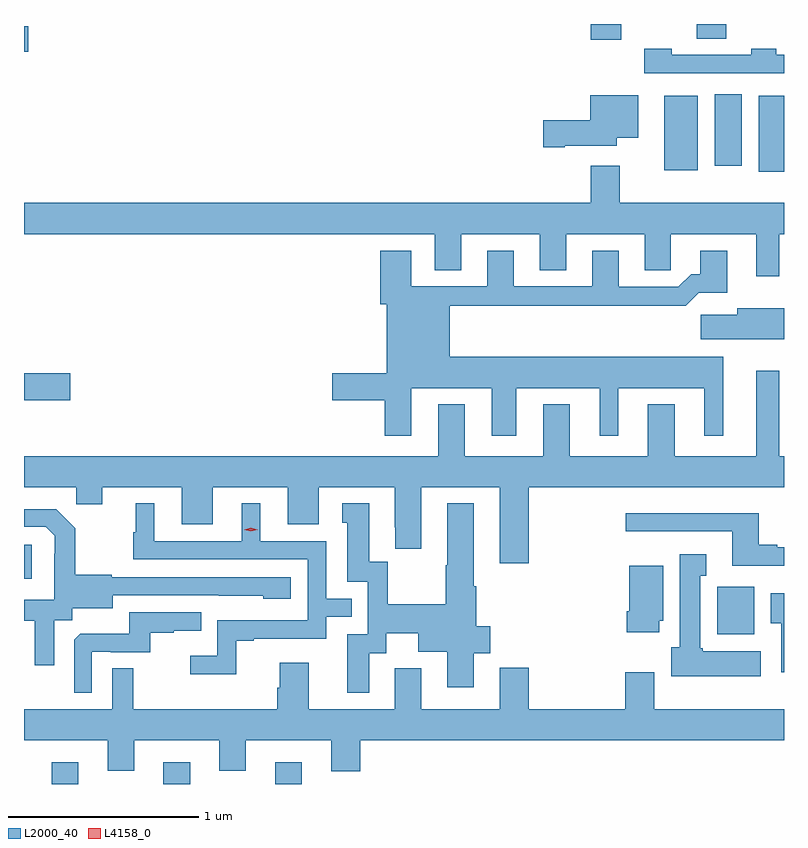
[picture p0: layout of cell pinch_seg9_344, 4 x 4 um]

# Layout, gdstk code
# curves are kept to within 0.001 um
import gdstk
lib = gdstk.Library(unit=1e-6, precision=1e-09)
def R(c, l, rs):  # rectangles x0, y0, x1, y1
    for r in rs: c.add(gdstk.rectangle(r[:2], r[2:], *l))
def A(c, l, x, y, w, h, nx, ny, dx, dy):  # array of equal rectangles
    R(c, l, [(x+i*dx, y+j*dy, x+i*dx+w, y+j*dy+h) for i in range(nx) for j in range(ny)])
def P(c, l, *ps):  # polygons
    for p in ps: c.add(gdstk.Polygon(p, *l))
L2000_40 = (2000, 40)
L4158_0 = (4158, 0)

pinch_seg9_344 = lib.new_cell('pinch_seg9_344')
A(pinch_seg9_344, L2000_40, 554.579, 1184.202, 0.14, 0.115, 3, 1, 0.588, 0)
R(pinch_seg9_344, L2000_40, [(558.081,1184.99,558.277,1185.24), (554.433,1185.282,554.473,1185.462), (554.433,1186.222,554.677,1186.364), (558.299,1187.424,558.433,1187.824), (557.804,1187.432,557.98,1187.824), (558.068,1187.457,558.211,1187.833), (554.433,1188.056,554.455,1188.19), (557.417,1188.12,557.577,1188.202), (557.974,1188.124,558.128,1188.202)])
P(pinch_seg9_344, L2000_40, [(558.433,1188.039),(558.393,1188.039),(558.393,1188.072),(558.261,1188.072),(558.261,1188.039),(557.841,1188.039),(557.841,1188.072),(557.697,1188.072),(557.697,1187.943),(558.433,1187.943)],
  [(557.278,1187.561),(557.554,1187.561),(557.554,1187.603),(557.665,1187.603),(557.665,1187.827),(557.414,1187.827),(557.414,1187.696),(557.166,1187.696),(557.166,1187.554),(557.278,1187.554)],
  [(558.409,1187.096),(558.433,1187.096),(558.433,1187.26),(557.569,1187.26),(557.569,1187.455),(557.417,1187.455),(557.417,1187.26),(554.433,1187.26),(554.433,1187.096),(556.595,1187.096),(556.595,1186.906),(556.735,1186.906),(556.735,1187.096),(557.147,1187.096),(557.147,1186.906),(557.287,1186.906),(557.287,1187.096),(557.699,1187.096),(557.699,1186.906),(557.838,1186.906),(557.838,1187.096),(558.287,1187.096),(558.287,1186.875),(558.409,1186.875)],
  [(556.471,1186.286),(556.895,1186.286),(556.895,1186.035),(557.023,1186.035),(557.023,1186.286),(557.462,1186.286),(557.462,1186.035),(557.56,1186.035),(557.56,1186.286),(558.014,1186.286),(558.014,1186.035),(558.112,1186.035),(558.112,1186.45),(556.675,1186.45),(556.675,1186.72),(557.659,1186.72),(557.659,1186.718),(557.915,1186.718),(557.984,1186.787),(558.133,1186.787),(558.133,1187.008),(557.993,1187.008),(557.993,1186.885),(557.944,1186.885),(557.877,1186.818),(557.563,1186.818),(557.563,1187.008),(557.423,1187.008),(557.423,1186.821),(557.011,1186.821),(557.011,1187.008),(556.871,1187.008),(556.871,1186.821),(556.471,1186.821),(556.471,1187.008),(556.307,1187.008),(556.307,1186.728),(556.343,1186.728),(556.343,1186.364),(556.056,1186.364),(556.056,1186.222),(556.331,1186.222),(556.331,1186.035),(556.471,1186.035)],
  [(558.433,1186.705),(558.188,1186.705),(558.188,1186.673),(557.994,1186.673),(557.994,1186.544),(558.433,1186.544)],
  [(557.09,1185.764),(558.433,1185.764),(558.433,1185.928),(558.409,1185.928),(558.409,1186.378),(558.287,1186.378),(558.287,1185.928),(557.857,1185.928),(557.857,1186.201),(557.717,1186.201),(557.717,1185.928),(557.305,1185.928),(557.305,1186.201),(557.165,1186.201),(557.165,1185.928),(556.753,1185.928),(556.753,1186.201),(556.613,1186.201),(556.613,1185.928),(554.433,1185.928),(554.433,1185.764),(554.707,1185.764),(554.707,1185.674),(554.845,1185.674),(554.845,1185.764),(555.263,1185.764),(555.263,1185.57),(555.427,1185.57),(555.427,1185.764),(555.821,1185.764),(555.821,1185.57),(555.985,1185.57),(555.985,1185.764),(556.385,1185.764),(556.385,1185.553),(556.388,1185.553),(556.388,1185.441),(556.525,1185.441),(556.525,1185.764),(556.937,1185.764),(556.937,1185.363),(557.09,1185.363)],
  [(556.249,1184.89),(556.339,1184.89),(556.339,1184.996),(556.508,1184.996),(556.508,1184.897),(556.661,1184.897),(556.661,1184.712),(556.801,1184.712),(556.801,1184.89),(556.888,1184.89),(556.888,1185.032),(556.814,1185.032),(556.814,1185.244),(556.801,1185.244),(556.801,1185.679),(556.661,1185.679),(556.661,1185.353),(556.654,1185.353),(556.654,1185.148),(556.347,1185.148),(556.347,1185.371),(556.249,1185.371),(556.249,1185.679),(556.109,1185.679),(556.109,1185.576),(556.133,1185.576),(556.133,1185.267),(556.242,1185.267),(556.242,1184.991),(556.133,1184.991),(556.133,1184.682),(556.249,1184.682)],
  [(555.549,1184.955),(555.643,1184.955),(555.643,1184.967),(556.023,1184.967),(556.023,1185.081),(556.157,1185.081),(556.157,1185.177),(556.023,1185.177),(556.023,1185.48),(555.676,1185.48),(555.676,1185.679),(555.578,1185.679),(555.578,1185.48),(555.118,1185.48),(555.118,1185.679),(555.02,1185.679),(555.02,1185.528),(555.009,1185.528),(555.009,1185.384),(555.927,1185.384),(555.927,1185.063),(555.45,1185.063),(555.45,1184.878),(555.309,1184.878),(555.309,1184.78),(555.549,1184.78)],
  [(554.593,1185.064),(554.688,1185.064),(554.688,1185.128),(554.899,1185.128),(554.899,1185.195),(555.693,1185.194),(555.693,1185.176),(555.838,1185.176),(555.838,1185.291),(554.895,1185.291),(554.895,1185.304),(554.703,1185.304),(554.703,1185.549),(554.603,1185.649),(554.433,1185.649),(554.433,1185.555),(554.547,1185.555),(554.594,1185.508),(554.594,1185.413),(554.592,1185.413),(554.592,1185.172),(554.433,1185.172),(554.433,1185.062),(554.489,1185.062),(554.489,1184.826),(554.593,1184.826)],
  [(558.433,1185.447),(558.397,1185.447),(558.397,1185.46),(558.301,1185.46),(558.301,1185.628),(557.601,1185.628),(557.601,1185.531),(558.161,1185.531),(558.161,1185.35),(558.433,1185.35)],
  [(558.31,1184.902),(558.006,1184.902),(558.006,1184.916),(557.992,1184.916),(557.992,1185.299),(558.025,1185.299),(558.025,1185.412),(557.885,1185.412),(557.885,1184.922),(557.84,1184.922),(557.84,1184.768),(558.31,1184.768)],
  [(557.776,1185.06),(557.797,1185.06),(557.797,1185.352),(557.618,1185.352),(557.618,1185.112),(557.606,1185.112),(557.606,1185),(557.776,1185)],
  [(558.433,1185.205),(558.362,1185.205),(558.362,1185.049),(558.419,1185.049),(558.419,1184.79),(558.433,1184.79)],
  [(554.79,1184.898),(554.89,1184.898),(554.89,1184.895),(555.098,1184.895),(555.098,1184.997),(555.221,1184.997),(555.221,1185.008),(555.365,1185.008),(555.365,1185.105),(554.988,1185.105),(554.988,1184.993),(554.729,1184.993),(554.697,1184.961),(554.697,1184.681),(554.79,1184.681)],
  [(556.202,1184.432),(558.433,1184.432),(558.433,1184.596),(557.749,1184.596),(557.749,1184.791),(557.597,1184.791),(557.597,1184.596),(557.09,1184.596),(557.09,1184.815),(556.937,1184.815),(556.937,1184.596),(556.525,1184.596),(556.525,1184.812),(556.385,1184.812),(556.385,1184.596),(555.931,1184.596),(555.931,1184.839),(555.779,1184.839),(555.779,1184.709),(555.767,1184.709),(555.767,1184.596),(555.007,1184.596),(555.007,1184.81),(554.898,1184.81),(554.898,1184.596),(554.433,1184.596),(554.433,1184.432),(554.873,1184.432),(554.873,1184.272),(555.013,1184.272),(555.013,1184.432),(555.461,1184.432),(555.461,1184.272),(555.601,1184.272),(555.601,1184.432),(556.049,1184.432),(556.049,1184.268),(556.202,1184.268)])
P(pinch_seg9_344, L4158_0, [(555.627,1185.531),(555.591,1185.541),(555.591,1185.541),(555.591,1185.541),(555.627,1185.551),(555.662,1185.541),(555.663,1185.541),(555.662,1185.541)])

lib.write_gds('pinch_seg9_344.gds')
